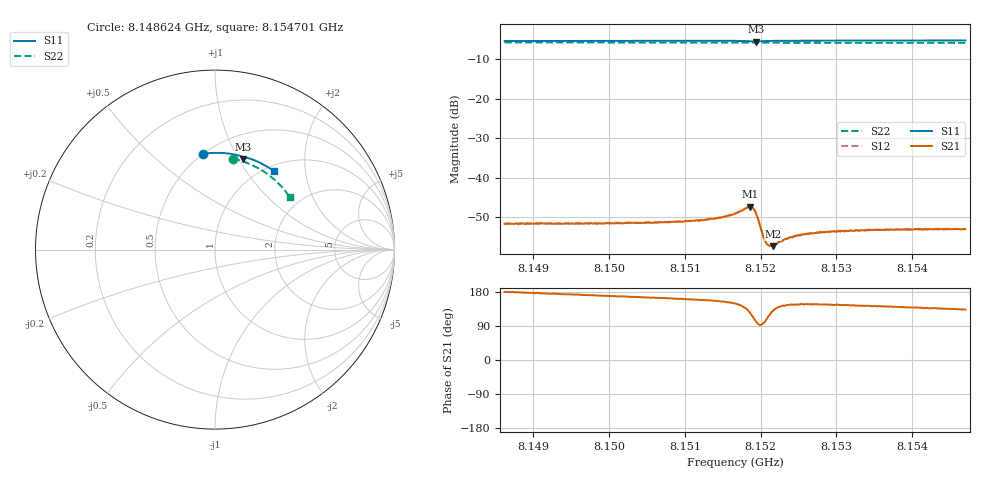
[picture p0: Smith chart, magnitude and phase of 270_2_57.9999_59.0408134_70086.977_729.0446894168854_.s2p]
#  HZ  S  RI  R  50.00
! Rohde & Schwarz Vector Network Analyzer
! Rohde-Schwarz,ZNB20-2Port,1311601062101988,3.16
! Created: UTC 3/21/2024, 1:02:20 AM
! freq[Hz]  re:S11  im:S11  re:S21  im:S21  re:S12  im:S12  re:S22  im:S22
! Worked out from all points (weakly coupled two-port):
!   401 points, 8.148624 GHz to 8.154701 GHz, reference 50 ohm
!   highest |S21| = -47.31 dB at 8.15186 GHz (marker M1); lowest = -57.3 dB at 8.152164 GHz (marker M2)
!   lowest |S11| = -5.5 dB at 8.151936 GHz (marker M3), VSWR 3.25, Z = 37.2 + j52.3 ohm
!   |S11| at or under -10 dB: nowhere
!   |S22| runs from -5.9 to -5.7 dB; largest |S21 - S12| = 0.00012
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8.1486236e9  -0.0663 0.5334  -0.00262 8.5e-06  -0.00263 6.73e-05  0.0991 0.5065
8.1496416e9  0.00457 0.5391  -0.00263 0.000361  -0.00264 0.000447  0.1633 0.4886
8.1506595e9  0.0755 0.5355  -0.00261 0.000759  -0.00266 0.000841  0.2237 0.4628
8.1512673e9  0.1182 0.5285  -0.00275 0.00112  -0.00273 0.00114  0.2582 0.4436
8.1515104e9  0.1356 0.5241  -0.00291 0.0014  -0.00289 0.00143  0.2714 0.4353
8.1516623e9  0.147 0.5201  -0.00304 0.00181  -0.003 0.00185  0.2796 0.4297
8.1518598e9  0.1592 0.5083  -0.00246 0.00354  -0.00241 0.00355  0.2897 0.4224
8.1519054e9  0.1581 0.5054  -0.00151 0.0038  -0.00144 0.00386  0.2919 0.4207
8.1519358e9  0.1564 0.5053  -0.000779 0.00357  -0.000729 0.00358  0.2934 0.4196
8.1519662e9  0.1555 0.5068  -0.000265 0.00304  -0.000235 0.00302  0.2948 0.4185
8.152027e9  0.1581 0.5109  -0.000191 0.00192  -0.000117 0.00191  0.2981 0.4163
8.1520573e9  0.1605 0.512  -0.000303 0.00157  -0.000315 0.00157  0.2998 0.4154
8.1520877e9  0.1632 0.5127  -0.000498 0.00135  -0.000481 0.00137  0.3013 0.4142
8.1521029e9  0.1646 0.513  -0.000613 0.00127  -0.000575 0.00128  0.3021 0.4136
8.1521333e9  0.1673 0.513  -0.000754 0.00116  -0.000764 0.0012  0.3036 0.4124
8.1521637e9  0.1699 0.5128  -0.000874 0.00105  -0.000886 0.00109  0.3052 0.4112
8.1522701e9  0.1784 0.5116  -0.00123 0.00099  -0.00126 0.001  0.3106 0.4072
8.1524068e9  0.1886 0.5089  -0.00147 0.000987  -0.00146 0.00101  0.3175 0.4016
8.1526803e9  0.2074 0.5024  -0.00168 0.00108  -0.00167 0.00111  0.3309 0.3901
8.1530297e9  0.2303 0.4931  -0.00175 0.00121  -0.00173 0.00123  0.3473 0.3749
8.1536982e9  0.2721 0.4725  -0.00173 0.00138  -0.00173 0.00142  0.3767 0.3442
8.154701e9  0.3306 0.4354  -0.00153 0.00164  -0.00154 0.00168  0.4154 0.2938
